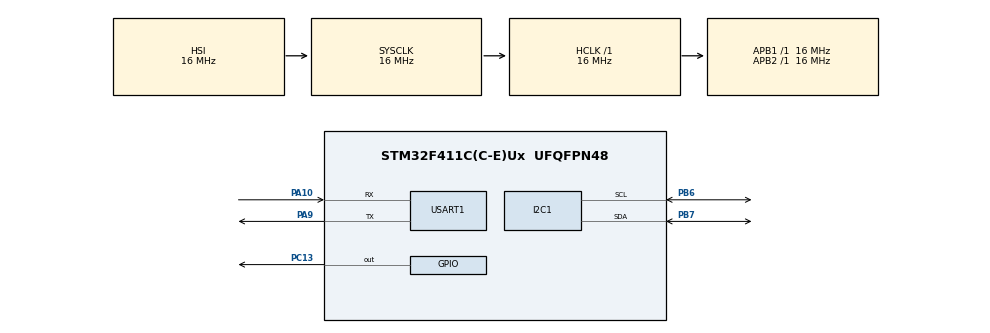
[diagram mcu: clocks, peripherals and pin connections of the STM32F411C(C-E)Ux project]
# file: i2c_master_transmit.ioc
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Mcu.Family=STM32F4
Mcu.Name=STM32F411C(C-E)Ux
Mcu.Package=UFQFPN48
NVIC.PriorityGroup=NVIC_PRIORITYGROUP_4
PA10.Mode=Asynchronous
PA10.Signal=USART1_RX
PA13.Mode=Serial_Wire
PA13.Signal=SYS_JTMS-SWDIO
PA14.Mode=Serial_Wire
PA14.Signal=SYS_JTCK-SWCLK
PA9.Mode=Asynchronous
PA9.Signal=USART1_TX
PB6.Mode=I2C
PB6.Signal=I2C1_SCL
PB7.Mode=I2C
PB7.Signal=I2C1_SDA
PC13-ANTI_TAMP.Signal=GPIO_Output
ProjectManager.HeapSize=0x200
ProjectManager.StackSize=0x400
ProjectManager.TargetToolchain=STM32CubeIDE
RCC.AHBFreq_Value=16000000
RCC.APB1Freq_Value=16000000
RCC.APB2Freq_Value=16000000
RCC.CortexFreq_Value=16000000
RCC.HSE_VALUE=25000000
RCC.HSI_VALUE=16000000
RCC.LSE_VALUE=32768
RCC.SYSCLKFreq_VALUE=16000000
RCC.VCOOutputFreq_Value=192000000
USART1.VirtualMode=VM_ASYNC
board=custom

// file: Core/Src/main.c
/* USER CODE BEGIN Header */
/**
  ******************************************************************************
  * @file           : main.c
  * @brief          : Main program body
  ******************************************************************************
  * @attention
  *
  * Copyright (c) 2025 STMicroelectronics.
  * All rights reserved.
  *
  * This software is licensed under terms that can be found in the LICENSE file
  * in the root directory of this software component.
  * If no LICENSE file comes with this software, it is provided AS-IS.
  *
  ******************************************************************************
  */
/* USER CODE END Header */
#include "main.h"

/* USER CODE BEGIN Includes */
#include "string.h"
/* USER CODE END Includes */

I2C_HandleTypeDef hi2c1;

UART_HandleTypeDef huart1;

/* USER CODE BEGIN PV */
uint8_t DS3231_ADDRESS = 0x68;	// 0x68<<1

typedef struct
{
	uint8_t second;
	uint8_t minute;
	uint8_t hour;
	uint8_t weekDay;
	uint8_t day;
	uint8_t month;
	uint8_t year;
}DS3231;

/* USER CODE END PV */

void SystemClock_Config(void);
static void MX_GPIO_Init(void);
static void MX_I2C1_Init(void);
static void MX_USART1_UART_Init(void);
/* USER CODE BEGIN PFP */
void ds3231_init();
void ds3231_setTime(uint8_t se,uint8_t mi,uint8_t ho,uint8_t wd,uint8_t d,uint8_t m,uint8_t y);
void ds3231_read();
uint8_t bcd2dec(uint8_t bcd);
uint8_t dec2bcd(uint8_t dec);
/* USER CODE END PFP */

/* USER CODE BEGIN 0 */
DS3231 ds3231;
/* USER CODE END 0 */

int main(void)
{

  /* MCU Configuration--------------------------------------------------------*/

  /* Reset of all peripherals, Initializes the Flash interface and the Systick. */
  HAL_Init();

  /* Configure the system clock */
  SystemClock_Config();

  /* Initialize all configured peripherals */
  MX_GPIO_Init();
  MX_I2C1_Init();
  MX_USART1_UART_Init();
  /* USER CODE BEGIN 2 */
  //ds3231_setTime(00, 42, 21, 7, 10, 5, 25);
//  uint8_t data_tx[] = "tra";
//  HAL_StatusTypeDef err;
  uint8_t data[30];
  /* USER CODE END 2 */

  /* Infinite loop */
  while (1)
  {

    /* USER CODE BEGIN 3 */
	  ds3231_read();
	  sprintf(data,"%d,%d:%d:%d,%d/%d/%d\r\n",ds3231.weekDay,ds3231.hour,ds3231.minute,ds3231.second,ds3231.day,ds3231.month,ds3231.year+2000);
	  HAL_UART_Transmit(&huart1, data, strlen(data), HAL_MAX_DELAY);
	  HAL_Delay(1000);
//	  err = HAL_I2C_Master_Transmit(&hi2c1, 0x08<<1, data_tx, strlen(data_tx), HAL_MAX_DELAY);
//	  HAL_GPIO_TogglePin(GPIOC, GPIO_PIN_13);
//	  HAL_Delay(500);
  }
  /* USER CODE END 3 */
}

void SystemClock_Config(void)
{
  RCC_OscInitTypeDef RCC_OscInitStruct = {0};
  RCC_ClkInitTypeDef RCC_ClkInitStruct = {0};

  /** Configure the main internal regulator output voltage
  */
  __HAL_RCC_PWR_CLK_ENABLE();
  __HAL_PWR_VOLTAGESCALING_CONFIG(PWR_REGULATOR_VOLTAGE_SCALE1);

  /** Initializes the RCC Oscillators according to the specified parameters
  * in the RCC_OscInitTypeDef structure.
  */
  RCC_OscInitStruct.OscillatorType = RCC_OSCILLATORTYPE_HSI;
  RCC_OscInitStruct.HSIState = RCC_HSI_ON;
  RCC_OscInitStruct.HSICalibrationValue = RCC_HSICALIBRATION_DEFAULT;
  RCC_OscInitStruct.PLL.PLLState = RCC_PLL_NONE;
  if (HAL_RCC_OscConfig(&RCC_OscInitStruct) != HAL_OK)
  {
    Error_Handler();
  }

  /** Initializes the CPU, AHB and APB buses clocks
  */
  RCC_ClkInitStruct.ClockType = RCC_CLOCKTYPE_HCLK|RCC_CLOCKTYPE_SYSCLK
                              |RCC_CLOCKTYPE_PCLK1|RCC_CLOCKTYPE_PCLK2;
  RCC_ClkInitStruct.SYSCLKSource = RCC_SYSCLKSOURCE_HSI;
  RCC_ClkInitStruct.AHBCLKDivider = RCC_SYSCLK_DIV1;
  RCC_ClkInitStruct.APB1CLKDivider = RCC_HCLK_DIV1;
  RCC_ClkInitStruct.APB2CLKDivider = RCC_HCLK_DIV1;

  if (HAL_RCC_ClockConfig(&RCC_ClkInitStruct, FLASH_LATENCY_0) != HAL_OK)
  {
    Error_Handler();
  }
}

static void MX_I2C1_Init(void)
{

  hi2c1.Instance = I2C1;
  hi2c1.Init.ClockSpeed = 100000;
  hi2c1.Init.DutyCycle = I2C_DUTYCYCLE_2;
  hi2c1.Init.OwnAddress1 = 0;
  hi2c1.Init.AddressingMode = I2C_ADDRESSINGMODE_7BIT;
  hi2c1.Init.DualAddressMode = I2C_DUALADDRESS_DISABLE;
  hi2c1.Init.OwnAddress2 = 0;
  hi2c1.Init.GeneralCallMode = I2C_GENERALCALL_DISABLE;
  hi2c1.Init.NoStretchMode = I2C_NOSTRETCH_DISABLE;
  if (HAL_I2C_Init(&hi2c1) != HAL_OK)
  {
    Error_Handler();
  }

}

static void MX_USART1_UART_Init(void)
{

  huart1.Instance = USART1;
  huart1.Init.BaudRate = 115200;
  huart1.Init.WordLength = UART_WORDLENGTH_8B;
  huart1.Init.StopBits = UART_STOPBITS_1;
  huart1.Init.Parity = UART_PARITY_NONE;
  huart1.Init.Mode = UART_MODE_TX_RX;
  huart1.Init.HwFlowCtl = UART_HWCONTROL_NONE;
  huart1.Init.OverSampling = UART_OVERSAMPLING_16;
  if (HAL_UART_Init(&huart1) != HAL_OK)
  {
    Error_Handler();
  }

}

static void MX_GPIO_Init(void)
{
  GPIO_InitTypeDef GPIO_InitStruct = {0};

  /* GPIO Ports Clock Enable */
  __HAL_RCC_GPIOC_CLK_ENABLE();
  __HAL_RCC_GPIOA_CLK_ENABLE();
  __HAL_RCC_GPIOB_CLK_ENABLE();

  /*Configure GPIO pin Output Level */
  HAL_GPIO_WritePin(GPIOC, GPIO_PIN_13, GPIO_PIN_RESET);

  /*Configure GPIO pin : PC13 */
  GPIO_InitStruct.Pin = GPIO_PIN_13;
  GPIO_InitStruct.Mode = GPIO_MODE_OUTPUT_PP;
  GPIO_InitStruct.Pull = GPIO_NOPULL;
  GPIO_InitStruct.Speed = GPIO_SPEED_FREQ_LOW;
  HAL_GPIO_Init(GPIOC, &GPIO_InitStruct);

}

/* USER CODE BEGIN 4 */
void ds3231_init()
{

}
void ds3231_setTime(uint8_t se,uint8_t mi,uint8_t ho,uint8_t wd,uint8_t d,uint8_t m,uint8_t y)
{
	uint8_t buffer[8] = {0x00,dec2bcd(se),dec2bcd(mi),dec2bcd(ho),dec2bcd(wd),dec2bcd(d),dec2bcd(m),dec2bcd(y)};
	HAL_I2C_Master_Transmit(&hi2c1, DS3231_ADDRESS<<1, buffer, 8, HAL_MAX_DELAY);
}
void ds3231_read()
{
	uint8_t reg = 0x00;
	uint8_t buffer[7] = {0};
	HAL_I2C_Master_Transmit(&hi2c1, DS3231_ADDRESS <<1, &reg, 1, HAL_MAX_DELAY);
	HAL_I2C_Master_Receive(&hi2c1, (DS3231_ADDRESS<<1)|0x01, buffer, 7, HAL_MAX_DELAY);
	ds3231.second 	= bcd2dec(buffer[0]);
	ds3231.minute 	= bcd2dec(buffer[1]);
	ds3231.hour   	= bcd2dec(buffer[2] & 0x3f);
	ds3231.weekDay 	= bcd2dec(buffer[3]);
	ds3231.day 		= bcd2dec(buffer[4]);
	ds3231.month 	= bcd2dec(buffer[5]);
	ds3231.year 	= bcd2dec(buffer[6]);
}
uint8_t bcd2dec(uint8_t bcd)
{
	return (bcd>>4)*10 + (bcd&0x0F);
}
uint8_t dec2bcd(uint8_t dec)
{
	return ((dec/10)<<4)+(dec%10);
}
/* USER CODE END 4 */

void Error_Handler(void)
{
  __disable_irq();
  while (1)
  {
  }
}
